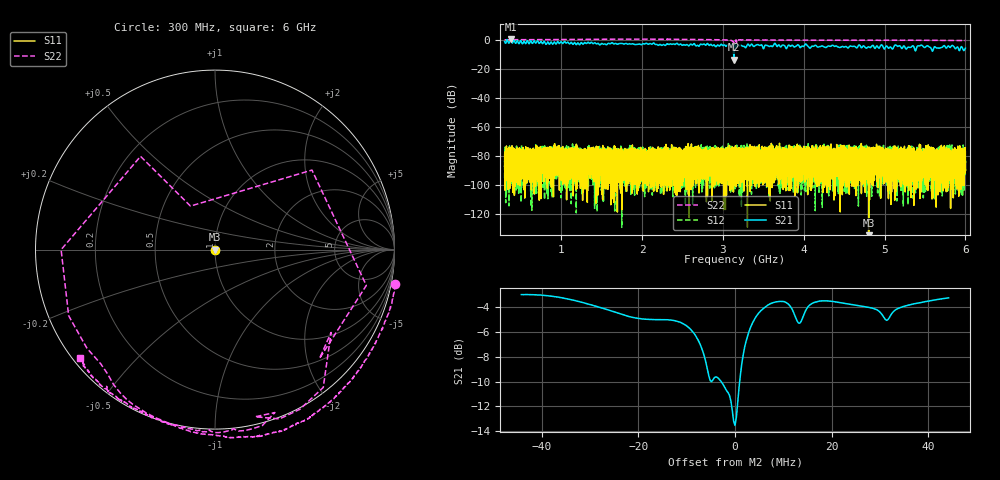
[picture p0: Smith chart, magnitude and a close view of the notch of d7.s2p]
!Agilent Technologies,N5230C,SG49000117,A.08.50.07
!Agilent N5230C: A.08.50.07
!Date: Monday, March 18, 2024 18:05:26
!Correction: S11(Off)
!S21(Off)
!S12(Off)
!S22(Full 1 Port(2))
!S2P File: Measurements: S11, S21, S12, S22:
# Hz S  RI  R 50
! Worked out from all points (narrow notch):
!   20001 points, 300 MHz to 6 GHz, reference 50 ohm
!   highest |S21| = 0.44 dB at 373.8 MHz (marker M1); lowest = -13.5 dB at 3.138 GHz (marker M2)
!   notch at M2: 10.0 dB deep, 7.38 MHz wide at half that depth
!   lowest |S11| = -136.1 dB at 4.803 GHz (marker M3), VSWR 1.00, Z = 50 - j5.19e-06 ohm
!   |S11| at or under -10 dB: start of sweep to end of sweep
!   |S22| runs from -13.4 to 0.7 dB; largest |S21 - S12| = 1.1
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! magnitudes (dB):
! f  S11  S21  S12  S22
! 300 MHz  -87.2  -0.9  -95.3  0.2
! 373.8 MHz  -80.8  0.4  -98.2  0.2
! 1.25 GHz  -89.8  -1.7  -92.0  0.4
! 2.2 GHz  -75.3  -3.7  -85.1  0.6
! 3.08 GHz  -83.5  -3.4  -84.5  -0.1
! 3.138 GHz  -75.3  -13.5  -83.9  -11.1
! 3.15 GHz  -93.4  -4.3  -80.9  -2.4
! 3.184 GHz  -81.2  -3.2  -82.3  0.2
! 3.267 GHz  -83.7  -4.5  -89.8  0.1
! 3.334 GHz  -76.0  -4.1  -84.5  0.1
! 3.78 GHz  -80.9  -5.6  -76.7  0.0
! 4.029 GHz  -79.3  -2.8  -85.1  -0.1
! 4.1 GHz  -98.0  -4.3  -91.6  -0.1
! 4.803 GHz  -136.1  -4.7  -79.5  -0.1
! 5.05 GHz  -78.2  -5.7  -81.2  -0.1
! 5.15 GHz  -81.0  -3.9  -79.1  -0.1
! 5.386 GHz  -81.8  -7.2  -83.3  -0.1
! 5.443 GHz  -72.1  -3.7  -83.3  -0.2
! 5.543 GHz  -75.0  -4.4  -87.1  -0.2
! 5.582 GHz  -83.8  -6.8  -83.4  -0.2
! 5.834 GHz  -90.1  -3.7  -78.5  -0.3
! 6 GHz  -84.2  -5.6  -87.2  -0.3
